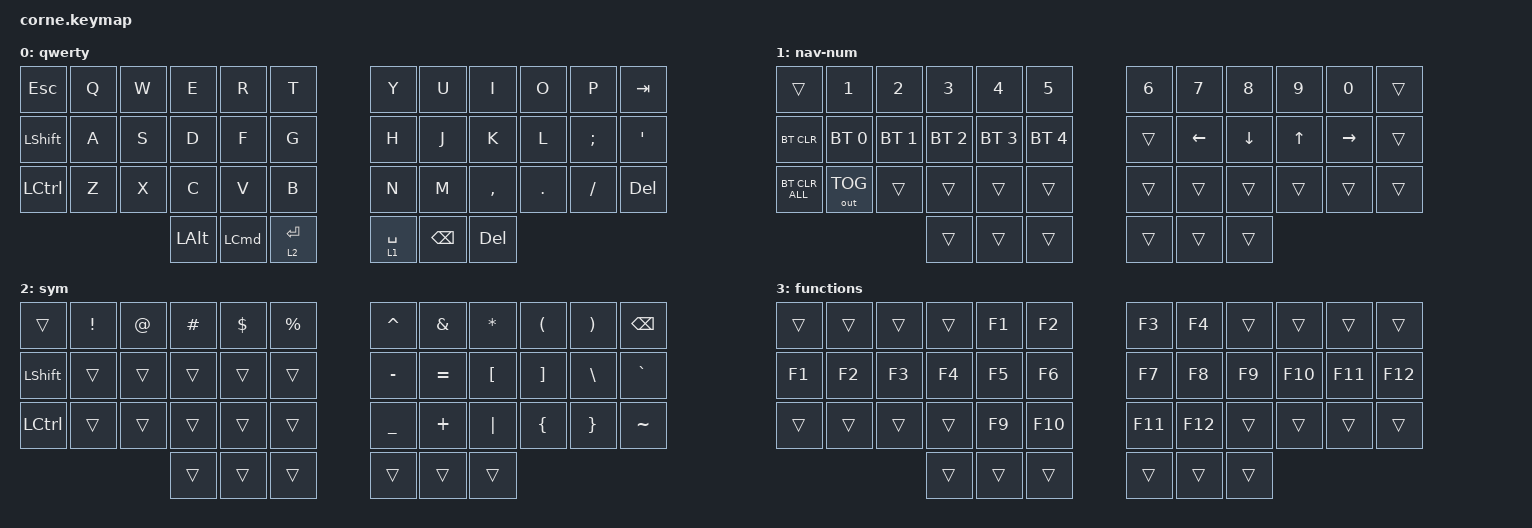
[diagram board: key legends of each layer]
/*
 * Copyright (c) 2020 The ZMK Contributors
 *
 * SPDX-License-Identifier: MIT
 */

#include <behaviors.dtsi>
#include <dt-bindings/zmk/bt.h>
#include <dt-bindings/zmk/keys.h>
#include <dt-bindings/zmk/outputs.h>

/ {
    macros {
        oseajelou: oseajelou {
            compatible = "zmk,behavior-macro";
            #binding-cells = <0>;
            bindings = <&none &kp LS(L) &kp R &kp E &kp N &kp SPACE &kp LS(I) &kp P &kp S &kp U &kp M &kp COMMA &kp SPACE &kp M &kp A &kp B &kp O &kp I>;
            label = "OSEAJELOU";
        };
    };

    keymap {
        compatible = "zmk,keymap";

        default_layer {
            display-name = "qwerty";

            // -----------------------------------------------------------------------------------------
            // |  TAB |  Q  |  W  |  E  |  R  |  T  |   |  Y  |  U   |  I  |  O  |  P  | BSPC |
            // | CTRL |  A  |  S  |  D  |  F  |  G  |   |  H  |  J   |  K  |  L  |  ;  |  '   |
            // | SHFT |  Z  |  X  |  C  |  V  |  B  |   |  N  |  M   |  ,  |  .  |  /  | ESC  |
            //                    | GUI | LWR | SPC |   | ENT | RSE  | ALT |

            bindings = <
&kp ESC         &kp Q  &kp W  &kp E         &kp R     &kp T          &kp Y        &kp U          &kp I      &kp O    &kp P     &kp TAB
&kp LEFT_SHIFT  &kp A  &kp S  &kp D         &kp F     &kp G          &kp H        &kp J          &kp K      &kp L    &kp SEMI  &kp SQT
&kp LCTRL       &kp Z  &kp X  &kp C         &kp V     &kp B          &kp N        &kp M          &kp COMMA  &kp DOT  &kp FSLH  &kp DELETE
                              &kp LEFT_ALT  &kp LCMD  &lt 2 ENTER    &lt 1 SPACE  &kp BACKSPACE  &kp DEL
            >;
        };

        nav_layer {
            display-name = "nav-num";

            // -----------------------------------------------------------------------------------------
            // |  TAB |  1  |  2  |  3  |  4  |  5  |   |  6  |  7  |  8  |  9  |  0  | BSPC |
            // | BTCLR| BT1 | BT2 | BT3 | BT4 | BT5 |   | LFT | DWN |  UP | RGT |     |      |
            // | SHFT |     |     |     |     |     |   |     |     |     |     |     |      |
            //                    | GUI |     | SPC |   | ENT |     | ALT |

            bindings = <
&trans          &kp N1        &kp N2        &kp N3        &kp N4        &kp N5          &kp N6  &kp N7          &kp N8          &kp N9        &kp N0           &trans
&bt BT_CLR      &bt BT_SEL 0  &bt BT_SEL 1  &bt BT_SEL 2  &bt BT_SEL 3  &bt BT_SEL 4    &trans  &kp LEFT_ARROW  &kp DOWN_ARROW  &kp UP_ARROW  &kp RIGHT_ARROW  &trans
&bt BT_CLR_ALL  &out OUT_TOG  &trans        &trans        &trans        &trans          &trans  &trans          &trans          &trans        &trans           &trans
                                            &trans        &trans        &trans          &trans  &trans          &trans
            >;
        };

        symbols_layer {
            display-name = "sym";

            // -----------------------------------------------------------------------------------------
            // |  TAB |  !  |  @  |  #  |  $  |  %  |   |  ^  |  &  |  *  |  (  |  )  | BSPC |
            // | CTRL |     |     |     |     |     |   |  -  |  =  |  [  |  ]  |  \  |  `   |
            // | SHFT |     |     |     |     |     |   |  _  |  +  |  {  |  }  | "|" |  ~   |
            //                    | GUI |     | SPC |   | ENT |     | ALT |

            bindings = <
&trans            &kp EXCL  &kp AT  &kp HASH  &kp DLLR  &kp PRCNT    &kp CARET  &kp AMPS   &kp ASTRK  &kp LPAR        &kp RPAR         &kp BSPC
&kp LEFT_SHIFT    &trans    &trans  &trans    &trans    &trans       &kp MINUS  &kp EQUAL  &kp LBKT   &kp RBKT        &kp BSLH         &kp GRAVE
&kp LEFT_CONTROL  &trans    &trans  &trans    &trans    &trans       &kp UNDER  &kp PLUS   &kp PIPE   &kp LEFT_BRACE  &kp RIGHT_BRACE  &kp TILDE
                                    &trans    &trans    &trans       &trans     &trans     &trans
            >;
        };

        functions {
            bindings = <
&trans  &trans  &trans  &trans  &kp F1  &kp F2     &kp F3   &kp F4   &trans  &trans   &trans   &trans
&kp F1  &kp F2  &kp F3  &kp F4  &kp F5  &kp F6     &kp F7   &kp F8   &kp F9  &kp F10  &kp F11  &kp F12
&trans  &trans  &trans  &trans  &kp F9  &kp F10    &kp F11  &kp F12  &trans  &trans   &trans   &trans
                        &trans  &trans  &trans     &trans   &trans   &trans
            >;

            label = "functions";
        };
    };

    conditional_layers {
        compatible = "zmk,conditional-layers";

        third_layer {
            if-layers = <1 2>;
            then-layer = <3>;
        };
    };
};
